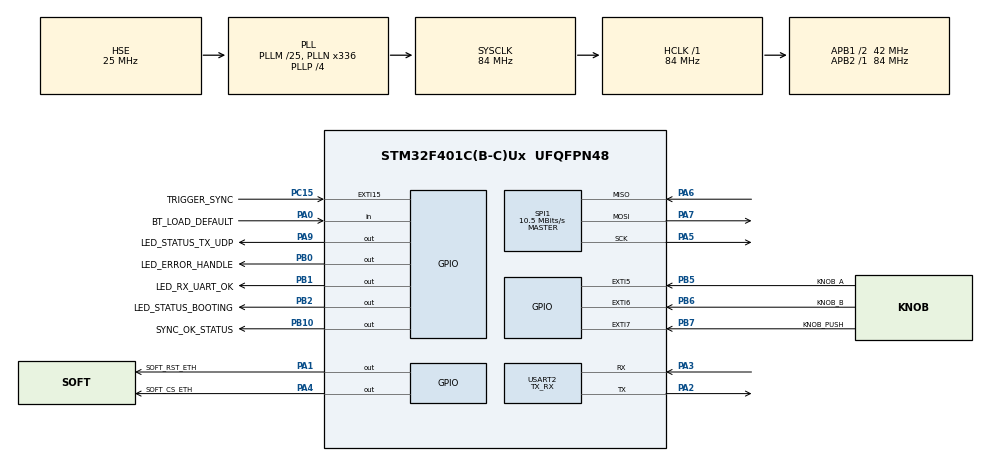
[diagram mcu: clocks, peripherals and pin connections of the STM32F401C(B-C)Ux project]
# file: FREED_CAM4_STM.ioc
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Dma.Request0=USART2_RX
Dma.USART2_RX.0.Direction=DMA_PERIPH_TO_MEMORY
Dma.USART2_RX.0.FIFOMode=DMA_FIFOMODE_DISABLE
Dma.USART2_RX.0.Instance=DMA1_Stream5
Dma.USART2_RX.0.MemDataAlignment=DMA_MDATAALIGN_BYTE
Dma.USART2_RX.0.MemInc=DMA_MINC_ENABLE
Dma.USART2_RX.0.Mode=DMA_NORMAL
Dma.USART2_RX.0.PeriphDataAlignment=DMA_PDATAALIGN_BYTE
Dma.USART2_RX.0.PeriphInc=DMA_PINC_DISABLE
Dma.USART2_RX.0.Priority=DMA_PRIORITY_LOW
IWDG.Prescaler=IWDG_PRESCALER_64
IWDG.Reload=2499
Mcu.Family=STM32F4
Mcu.Name=STM32F401C(B-C)Ux
Mcu.Package=UFQFPN48
NVIC.DMA1_Stream5_IRQn=true\:0\:0\:false\:false\:true\:false\:true\:true
NVIC.EXTI15_10_IRQn=true\:0\:0\:false\:false\:true\:true\:true\:true
NVIC.PriorityGroup=NVIC_PRIORITYGROUP_4
NVIC.USART2_IRQn=true\:0\:0\:false\:false\:true\:true\:true\:true
PA0-WKUP.GPIO_Label=BT_LOAD_DEFAULT
PA0-WKUP.GPIO_PuPd=GPIO_PULLUP
PA0-WKUP.Signal=GPIO_Input
PA1.GPIO_Label=SOFT_RST_ETH
PA1.Signal=GPIO_Output
PA2.Mode=Asynchronous
PA2.Signal=USART2_TX
PA3.Mode=Asynchronous
PA3.Signal=USART2_RX
PA4.GPIO_Label=SOFT_CS_ETH
PA4.Signal=GPIO_Output
PA5.Mode=Full_Duplex_Master
PA5.Signal=SPI1_SCK
PA6.Mode=Full_Duplex_Master
PA6.Signal=SPI1_MISO
PA7.Mode=Full_Duplex_Master
PA7.Signal=SPI1_MOSI
PA9.GPIO_Label=LED_STATUS_TX_UDP
PA9.Signal=GPIO_Output
PB0.GPIO_Label=LED_ERROR_HANDLE
PB0.Signal=GPIO_Output
PB1.GPIO_Label=LED_RX_UART_OK
PB1.Signal=GPIO_Output
PB10.GPIO_Label=SYNC_OK_STATUS
PB10.Signal=GPIO_Output
PB2.GPIO_Label=LED_STATUS_BOOTING
PB2.Signal=GPIO_Output
PB5.GPIO_Label=KNOB_A
PB5.GPIO_PuPd=GPIO_PULLDOWN
PB5.Signal=GPXTI5
PB6.GPIO_Label=KNOB_B
PB6.GPIO_PuPd=GPIO_PULLUP
PB6.Signal=GPXTI6
PB7.GPIO_Label=KNOB_PUSH
PB7.GPIO_PuPd=GPIO_PULLUP
PB7.Signal=GPXTI7
PC15-OSC32_OUT.GPIO_Label=TRIGGER_SYNC
PC15-OSC32_OUT.GPIO_ModeDefaultEXTI=GPIO_MODE_IT_FALLING
PC15-OSC32_OUT.GPIO_PuPd=GPIO_PULLUP
PC15-OSC32_OUT.Signal=GPXTI15
PH0\ -\ OSC_IN.Mode=HSE-External-Oscillator
PH0\ -\ OSC_IN.Signal=RCC_OSC_IN
PH1\ -\ OSC_OUT.Mode=HSE-External-Oscillator
PH1\ -\ OSC_OUT.Signal=RCC_OSC_OUT
ProjectManager.HeapSize=0x200
ProjectManager.StackSize=0x400
ProjectManager.TargetToolchain=STM32CubeIDE
RCC.48MHZClocksFreq_Value=48000000
RCC.AHBFreq_Value=84000000
RCC.APB1CLKDivider=RCC_HCLK_DIV2
RCC.APB1Freq_Value=42000000
RCC.APB1TimFreq_Value=84000000
RCC.APB2Freq_Value=84000000
RCC.APB2TimFreq_Value=84000000
RCC.CortexFreq_Value=84000000
RCC.EnbaleCSS=true
RCC.HCLKFreq_Value=84000000
RCC.HSE_VALUE=25000000
RCC.HSI_VALUE=16000000
RCC.LSE_VALUE=32768
RCC.PLLM=25
RCC.PLLN=336
RCC.PLLP=RCC_PLLP_DIV4
RCC.PLLQ=7
RCC.PLLSourceVirtual=RCC_PLLSOURCE_HSE
RCC.SYSCLKFreq_VALUE=84000000
RCC.SYSCLKSource=RCC_SYSCLKSOURCE_PLLCLK
RCC.VCOOutputFreq_Value=336000000
SPI1.BaudRatePrescaler=SPI_BAUDRATEPRESCALER_8
SPI1.CalculateBaudRate=10.5 MBits/s
SPI1.Direction=SPI_DIRECTION_2LINES
SPI1.Mode=SPI_MODE_MASTER
SPI1.VirtualType=VM_MASTER
USART2.Mode=MODE_TX_RX
USART2.VirtualMode=VM_ASYNC
VP_IWDG_VS_IWDG.Mode=IWDG_Activate
board=custom

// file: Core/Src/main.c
/* USER CODE BEGIN Header */
/**
  ******************************************************************************
  * @file           : main.c
  * @brief          : Main program body
  ******************************************************************************
  * @attention
  *
  * Copyright (c) 2022 STMicroelectronics.
  * All rights reserved.
  *
  * This software is licensed under terms that can be found in the LICENSE file
  * in the root directory of this software component.
  * If no LICENSE file comes with this software, it is provided AS-IS.
  *
  ******************************************************************************
  */

  /**

	Sistema de tracking para câmera 4 PRJ
	Elaborado por: Daniel Leite / Fabiano Aguileira
	Software para  captura dos dados da câmera e conversão / envio via FreeD
	Mapa de calibração de distorção de trilhos gravado no progroma.
	Em caso de mudança fisíca no sistema, será necessário criar um novo mapa.

  */

/* USER CODE END Header */
#include "main.h"

/* USER CODE BEGIN Includes */
#include <stdio.h>

#include "decoderTrack.h"
#include "w5500_spi.h"
#include "FreeD.h"

#include "config.h"
#include "mapas.h"

/* USER CODE END Includes */

/* USER CODE BEGIN PD */

// Define da porta o intern trace monitor para fazer degug via trace
#define ITM_Port32(n) (*((volatile unsigned long *) (ITM_BASE + 4*n)))

#define UDP_SOCKET1 (uint8_t) 0
#define UDP_SOCKET2 (uint8_t) 1
#define UDP_SOCKET3 (uint8_t) 2
#define UDP_SOCKET4 (uint8_t) 3
#define UDP_SOCKET5 (uint8_t) 4
#define UDP_SOCKET6 (uint8_t) 5
#define UDP_SOCKET7 (uint8_t) 6
#define TCP_SERVER_SOCKET (uint8_t) 7

#define PORTA_RX_TCP_SERVER	1110

#define TIME_OUT_STATUS_SYNC_MS (2*1000/60)
#define TIME_OUT_STATUS_RX_MS 	(2*1000/60)
#define TEMPO_REFRESH_MENU_MS	(1*1000/60)

#define SizeVectorBuffer	3
#define CAM_ID				1
#define FREED_BUFFER_INVALID	0xFFU

#define SEND_IN_INTERRUPCION

//#define DEBUG_ITM
//#define DEFUB_PRINTF
//#define DEBUG_USB
//#define WTD_RESET   // Realiza o reset do wtd dentro da rotina de leitura do serial

//#define CASA

/* USER CODE END PD */

IWDG_HandleTypeDef hiwdg;

SPI_HandleTypeDef hspi1;

UART_HandleTypeDef huart2;
DMA_HandleTypeDef hdma_usart2_rx;

/* USER CODE BEGIN PV */

configTrack configGlobal;

volatile uint16_t bootPage0Hdr = 0xFFFF;
volatile uint16_t bootPage1Hdr = 0xFFFF;
volatile uint16_t afterEeInitPage0Hdr = 0xFFFF;
volatile uint16_t afterEeInitPage1Hdr = 0xFFFF;
volatile uint16_t bootBtLoadDefault = 0xFFFF;

///************** VARI�?VEIS EEPROM ***************************************/

/* Virtual address defined by the user: 0xFFFF value is prohibited */
uint16_t VirtAddVarTab[NB_OF_VAR];

///**************  BUFFET DE STATUS E SAIDA TCP *********************************/

uint8_t bufferStatusGeral[64];
uint8_t buffetMsgOut[2048];

//************* MAPA DE COMPENSACAO XY  ****************************************/

volatile dadosMapaTrack  mapaST_XY = {   .distComp = 0,
										 .lastPoseVet = 0,
										 .lastPoseVet = -1,
										 .proxPosVet = -1,
										 .vetSize = sizeof(VetMapXY)/(sizeof(float)*3)};

volatile dadosMapaTrack  mapaST_Z = {  	 .distComp = 0,
										 .lastPoseVet = 0,
										 .lastPoseVet = -1,
										 .proxPosVet = -1,
										 .vetSize = sizeof(VetMapZ)/(sizeof(float)*2)};

volatile dadosMapaTrack  mapaST_PAN = {  .distComp = 0,
										 .lastPoseVet = 0,
										 .lastPoseVet = -1,
										 .proxPosVet = -1,
										 .vetSize = sizeof(VetMapaPAN)/(sizeof(float)*2)};

volatile dadosMapaTrack  mapaST_T_ROLL = {	.distComp = 0,
											.lastPoseVet = 0,
											.lastPoseVet = -1,
											.proxPosVet = -1,
											.vetSize = sizeof(VetMapaROLL)/(sizeof(float)*2)};

/////****************************************************************************/

PinCtlW5500 setup_gpio = {	.GPIO_CS = SOFT_CS_ETH_GPIO_Port,
 						 	.PIN_CS = SOFT_CS_ETH_Pin,
 						    .GPIO_RST = SOFT_RST_ETH_GPIO_Port,
 						    .PIN_RST = SOFT_RST_ETH_Pin};

uint8_t ipRemoto1[4], ipRemoto2[4], ipRemoto3[4], ipRemoto4[4], ipRemoto5[4], ipRemoto6[4], ipRemoto7[4];

 uint8_t volatile bufferUdpTX[FREE_D_D1_PACKET_SIZE];

 FreeD_D1_t pacoteFreed = {  .ID = 255,
							 .Pan = 0.0,
							 .Tilt = 0.0,
							 .Roll = 0.0,
							 .X = 0.0,
							 .Y = 0.0,
							 .Z = 0.0,
							 .Zoom = 0,
							 .Focus = 0};

 volatile uint8_t SYNC_ON = 0, idBufferEscrita = 0, RX_STATUS = 0;
 volatile uint32_t dt_sync = 0, dt_rx = 0;
 volatile bufferData bufferRX_SerialCam4[SizeVectorBuffer];
 volatile bufferData bufferRXTemp[SizeVectorBuffer];
 volatile uint8_t cam_id_ct = 0;

 volatile uint32_t contadorFalhaEnvioUDP = 0; // conta quantos envios nao retornaram o tamanho esperado (29)
 volatile uint32_t contadorFalhaEnquadramentoUART = 0; // conta pacotes seriais com tamanho ok mas marcador invalido
 volatile uint32_t contadorSyncTotal = 0;
 volatile uint32_t contadorSyncLost = 0;
 volatile uint32_t ultimoSyncTick = 0;
 volatile uint32_t contadorFreeDTotal = 0;
 volatile uint32_t contadorFreeDOk = 0;
 volatile uint32_t contadorFreeDErro = 0;
 volatile uint32_t contadorFreeDDropped = 0;
 volatile uint32_t ultimoFreeDTick = 0;
 volatile int32_t ultimoFreeDRetorno = 0;
 volatile uint8_t ultimoFreeDSocket = 0;
 volatile uint32_t contadorEthDown = 0;
 volatile uint32_t contadorEthUp = 0;
 volatile uint32_t estadoLinkEthernet = 0;

 /* Instrumentacao observacional do servidor TCP 1110 (socket 7). */
 volatile uint32_t tcpAcceptCount = 0;
 volatile uint32_t tcpRxOkCount = 0;
 volatile uint32_t tcpRxErrCount = 0;
 volatile uint32_t tcpSendCallCount = 0;
 volatile uint32_t tcpSendRetOkCount = 0;
 volatile uint32_t tcpSendRetErrCount = 0;
 volatile uint32_t tcpSendOkCount = 0;
 volatile uint32_t tcpTimeoutCount = 0;
 volatile uint32_t tcpCloseWaitCount = 0;
 volatile uint32_t tcpDisconCount = 0;
 volatile uint32_t tcpReopenCount = 0;
 volatile uint8_t tcpLastSr = SOCK_CLOSED;
 volatile uint8_t tcpLastIr = 0;
 volatile int32_t tcpLastRecv = -1;
 volatile int32_t tcpLastSend = -1;
 volatile uint16_t tcpLastTxFsr = 0;
 volatile uint8_t tcpPreviousSocketState = 0xFFU;
 volatile uint8_t tcpPreviousIr = 0;
 volatile uint8_t tcpSocketEverOpened = 0;
 volatile uint32_t tcpListenCount = 0;
 volatile uint32_t tcpClosedToListenMs = 0;
 volatile uint32_t tcpMaxClosedToListenMs = 0;
 volatile uint32_t tcpClosedObservedTick = 0;
 volatile uint8_t tcpClosedTimingActive = 0;

 volatile int32_t stsSocket0, stsSocket1, stsSocket2, stsSocket3, stsSocket4, stsSocket5, stsSocket6, stsSocket7;

 volatile uint16_t timmerVal;

 volatile uint32_t pmask; // Marcador de interrucoes ativas

 volatile gap_zoom gapLente = { .lastRawValue = 0,
 	 	 	 	 	 	 	 	.backSlashAtual = 0,
 	 	 	 	 	 	 	 	.zoomCorrigido = 0};

 uint32_t dt = 0;

 /**************************************************************************/

 /* Virtual address defined by the user: 0xFFFF value is prohibited */

 /**************************************************************************/

/* USER CODE END PV */

void SystemClock_Config(void);
static void MX_GPIO_Init(void);
static void MX_DMA_Init(void);
static void MX_SPI1_Init(void);
static void MX_USART2_UART_Init(void);
static void MX_IWDG_Init(void);
/* USER CODE BEGIN PFP */

void statusBooting(void);

/* USER CODE END PFP */

int main(void)
{

  /* MCU Configuration--------------------------------------------------------*/

  /* Reset of all peripherals, Initializes the Flash interface and the Systick. */
  HAL_Init();

  /* Configure the system clock */
  SystemClock_Config();

  /* Initialize all configured peripherals */
  MX_GPIO_Init();
  MX_DMA_Init();
  MX_SPI1_Init();
  MX_USART2_UART_Init();
  MX_IWDG_Init();
  /* USER CODE BEGIN 2 */

  statusBooting();

  enter_critical();

  configInit(VirtAddVarTab, NB_OF_VAR);				// Inicializa a eeprom para operar com a configuração salva

  loadConfig();										// Carrega a configuração da eeprom na variavel de configuracao global

  exit_critical();

  // Carrega configuracao padrao, caso a chave seja apertada durante a inicializacao
  bootBtLoadDefault = (uint16_t)HAL_GPIO_ReadPin(BT_LOAD_DEFAULT_GPIO_Port, BT_LOAD_DEFAULT_Pin);
  if(bootBtLoadDefault == 0){
	  loadDefault();
  }

  wiz_NetInfo configRede = { .mac = {configGlobal.config.mac1, configGlobal.config.mac2, configGlobal.config.mac3, configGlobal.config.mac4, configGlobal.config.mac5, configGlobal.config.mac6},
								 .ip  = {configGlobal.config.ip1 , configGlobal.config.ip2, configGlobal.config.ip3, configGlobal.config.ip4},
								 .sn =  {configGlobal.config.mask1, configGlobal.config.mask2, configGlobal.config.mask3, configGlobal.config.mask4},
								 .gw =  {configGlobal.config.gw1, configGlobal.config.gw2, configGlobal.config.gw3, configGlobal.config.gw4},
								 .dns = {configGlobal.config.dns1, configGlobal.config.dns2, configGlobal.config.dns3, configGlobal.config.dns4},
								 .dhcp = configGlobal.config.dhcp_static};

  ipRemoto1[0] = configGlobal.config.ip1_rmt1; ipRemoto1[1] =  configGlobal.config.ip2_rmt1; ipRemoto1[2] =  configGlobal.config.ip3_rmt1; ipRemoto1[3] =  configGlobal.config.ip4_rmt1;
  ipRemoto2[0] = configGlobal.config.ip1_rmt2; ipRemoto2[1] =  configGlobal.config.ip2_rmt2; ipRemoto2[2] =  configGlobal.config.ip3_rmt2; ipRemoto2[3] =  configGlobal.config.ip4_rmt2;
  ipRemoto3[0] = configGlobal.config.ip1_rmt3; ipRemoto3[1] =  configGlobal.config.ip2_rmt3; ipRemoto3[2] =  configGlobal.config.ip3_rmt3; ipRemoto3[3] =  configGlobal.config.ip4_rmt3;
  ipRemoto4[0] = configGlobal.config.ip1_rmt4; ipRemoto4[1] =  configGlobal.config.ip2_rmt4; ipRemoto4[2] =  configGlobal.config.ip3_rmt4; ipRemoto4[3] =  configGlobal.config.ip4_rmt4;
  ipRemoto5[0] = configGlobal.config.ip1_rmt5; ipRemoto5[1] =  configGlobal.config.ip2_rmt5; ipRemoto5[2] =  configGlobal.config.ip3_rmt5; ipRemoto5[3] =  configGlobal.config.ip4_rmt5;
  ipRemoto6[0] = configGlobal.config.ip1_rmt6; ipRemoto6[1] =  configGlobal.config.ip2_rmt6; ipRemoto6[2] =  configGlobal.config.ip3_rmt6; ipRemoto6[3] =  configGlobal.config.ip4_rmt6;
  ipRemoto7[0] = configGlobal.config.ip1_rmt7; ipRemoto7[1] =  configGlobal.config.ip2_rmt7; ipRemoto7[2] =  configGlobal.config.ip3_rmt7; ipRemoto7[3] =  configGlobal.config.ip4_rmt7;

  HAL_Delay(1000);
  /*enter_critical();
  gravaConfig();
  exit_critical();
  */

  // Configura os parametros de rede do w5500
  W5500_STM32_begin(configRede);
  estadoLinkEthernet = (wizphy_getphylink() == PHY_LINK_ON) ? 1U : 0U;

  // reduz o timout de rede para evitar perda de pocote ou travametno no caso de ausencia de cliente
  // FIX: esse timeout so protegia parcialmente - o envio ainda rodava dentro da
  // ISR de sync (ver HAL_GPIO_EXTI_Callback), entao mesmo 500us x N sockets
  // inacessiveis prendia a interrupcao por tempo suficiente para atrasar a
  // UART/DMA. Agora que o envio foi movido para o loop principal, o valor
  // pequeno aqui continua bom (evita travar o loop por muito tempo se um
  // cliente cair), mas nao e mais a unica linha de defesa.
  wiz_NetTimeout timeout_rede;
  timeout_rede.retry_cnt = 1;	 // default 8
  timeout_rede.time_100us = 5;	 // default 200

  wizchip_settimeout(&timeout_rede);

  switch (configGlobal.config.n_remotos) {
	case 1:
		 if(W5500_STM32_UDP_begin(8881, UDP_SOCKET1, MODO_UDP_UNI_BROAD) != UDP_SOCKET1){
			  printf("Falha na inicialização do socket UDP");
			  Error_Handler();
		  }
		break;
	case 2:
		  if(W5500_STM32_UDP_begin(8881, UDP_SOCKET1, MODO_UDP_UNI_BROAD) != UDP_SOCKET1){
			  printf("Falha na inicialização do socket UDP");
			  Error_Handler();
		  }
		  if(W5500_STM32_UDP_begin(8882, UDP_SOCKET2, MODO_UDP_UNI_BROAD) != UDP_SOCKET2){
			  printf("Falha na inicialização do socket UDP");
			  Error_Handler();
		  }
		break;
	case 3:
		  if(W5500_STM32_UDP_begin(8881, UDP_SOCKET1, MODO_UDP_UNI_BROAD) != UDP_SOCKET1){
			  printf("Falha na inicialização do socket UDP");
			  Error_Handler();
		  }
		  if(W5500_STM32_UDP_begin(8882, UDP_SOCKET2, MODO_UDP_UNI_BROAD) != UDP_SOCKET2){
		 	  printf("Falha na inicialização do socket UDP");
		 	  Error_Handler();
		  }
		  if(W5500_STM32_UDP_begin(8883, UDP_SOCKET3, MODO_UDP_UNI_BROAD) != UDP_SOCKET3){
		 	  printf("Falha na inicialização do socket UDP");
		 	  Error_Handler();
		  }
		break;
	case 4:
		  if(W5500_STM32_UDP_begin(8881, UDP_SOCKET1, MODO_UDP_UNI_BROAD) != UDP_SOCKET1){
			  printf("Falha na inicialização do socket UDP");
			  Error_Handler();
		  }
		  if(W5500_STM32_UDP_begin(8882, UDP_SOCKET2, MODO_UDP_UNI_BROAD) != UDP_SOCKET2){
		 	  printf("Falha na inicialização do socket UDP");
		 	  Error_Handler();
		  }
		  if(W5500_STM32_UDP_begin(8883, UDP_SOCKET3, MODO_UDP_UNI_BROAD) != UDP_SOCKET3){
		 	  printf("Falha na inicialização do socket UDP");
		 	  Error_Handler();
		  }
		  if(W5500_STM32_UDP_begin(8883, UDP_SOCKET4, MODO_UDP_UNI_BROAD) != UDP_SOCKET4){
		   	  printf("Falha na inicialização do socket UDP");
		   	  Error_Handler();
		  }
		break;
	case 5:
		  if(W5500_STM32_UDP_begin(8881, UDP_SOCKET1, MODO_UDP_UNI_BROAD) != UDP_SOCKET1){
			  printf("Falha na inicialização do socket UDP");
			  Error_Handler();
		  }
		  if(W5500_STM32_UDP_begin(8882, UDP_SOCKET2, MODO_UDP_UNI_BROAD) != UDP_SOCKET2){
		 	  printf("Falha na inicialização do socket UDP");
		 	  Error_Handler();
		  }
		  if(W5500_STM32_UDP_begin(8883, UDP_SOCKET3, MODO_UDP_UNI_BROAD) != UDP_SOCKET3){
		 	  printf("Falha na inicialização do socket UDP");
		 	  Error_Handler();
		  }
		  if(W5500_STM32_UDP_begin(8883, UDP_SOCKET4, MODO_UDP_UNI_BROAD) != UDP_SOCKET4){
		   	  printf("Falha na inicialização do socket UDP");
		   	  Error_Handler();
		  }
		  if(W5500_STM32_UDP_begin(8883, UDP_SOCKET5, MODO_UDP_UNI_BROAD) != UDP_SOCKET5){
		   	  printf("Falha na inicialização do socket UDP");
		   	  Error_Handler();
		  }

		break;
	case 6:
		  if(W5500_STM32_UDP_begin(8881, UDP_SOCKET1, MODO_UDP_UNI_BROAD) != UDP_SOCKET1){
			  printf("Falha na inicialização do socket UDP");
			  Error_Handler();
		  }
		  if(W5500_STM32_UDP_begin(8882, UDP_SOCKET2, MODO_UDP_UNI_BROAD) != UDP_SOCKET2){
		 	  printf("Falha na inicialização do socket UDP");
		 	  Error_Handler();
		  }
		  if(W5500_STM32_UDP_begin(8883, UDP_SOCKET3, MODO_UDP_UNI_BROAD) != UDP_SOCKET3){
		 	  printf("Falha na inicialização do socket UDP");
		 	  Error_Handler();
		  }
		  if(W5500_STM32_UDP_begin(8883, UDP_SOCKET4, MODO_UDP_UNI_BROAD) != UDP_SOCKET4){
		   	  printf("Falha na inicialização do socket UDP");
		   	  Error_Handler();
		  }
		  if(W5500_STM32_UDP_begin(8883, UDP_SOCKET5, MODO_UDP_UNI_BROAD) != UDP_SOCKET5){
		   	  printf("Falha na inicialização do socket UDP");
		   	  Error_Handler();
		  }
		  if(W5500_STM32_UDP_begin(8883, UDP_SOCKET6, MODO_UDP_UNI_BROAD) != UDP_SOCKET6){
			  printf("Falha na inicialização do socket UDP");
			  Error_Handler();
		  }

		break;
	case 7:
		  if(W5500_STM32_UDP_begin(8881, UDP_SOCKET1, MODO_UDP_UNI_BROAD) != UDP_SOCKET1){
			  printf("Falha na inicialização do socket UDP");
			  Error_Handler();
		  }
		  if(W5500_STM32_UDP_begin(8882, UDP_SOCKET2, MODO_UDP_UNI_BROAD) != UDP_SOCKET2){
		 	  printf("Falha na inicialização do socket UDP");
		 	  Error_Handler();
		  }
		  if(W5500_STM32_UDP_begin(8883, UDP_SOCKET3, MODO_UDP_UNI_BROAD) != UDP_SOCKET3){
		 	  printf("Falha na inicialização do socket UDP");
		 	  Error_Handler();
		  }
		  if(W5500_STM32_UDP_begin(8883, UDP_SOCKET4, MODO_UDP_UNI_BROAD) != UDP_SOCKET4){
		   	  printf("Falha na inicialização do socket UDP");
		   	  Error_Handler();
		  }
		  if(W5500_STM32_UDP_begin(8883, UDP_SOCKET5, MODO_UDP_UNI_BROAD) != UDP_SOCKET5){
		   	  printf("Falha na inicialização do socket UDP");
		   	  Error_Handler();
		  }
		  if(W5500_STM32_UDP_begin(8883, UDP_SOCKET6, MODO_UDP_UNI_BROAD) != UDP_SOCKET6){
			  printf("Falha na inicialização do socket UDP");
			  Error_Handler();
		  }
		  if(W5500_STM32_UDP_begin(8883, UDP_SOCKET7, MODO_UDP_UNI_BROAD) != UDP_SOCKET7){
			  printf("Falha na inicialização do socket UDP");
			  Error_Handler();
		  }
		break;
	default:
		printf("Falha na inicializaçao dos socket. Não foi configurado dispositivo remoto \n");
		break;
}

  /*if(listen(TCP_SERVER_SOCKET) != SOCK_OK){
	  printf("Inicio: Falha na inicializacao da escuta do servidor TCP \n");
  }*/

  HAL_Delay(1000);

  enter_critical();

  if(HAL_UARTEx_ReceiveToIdle_DMA(&huart2, (uint8_t *) bufferRX_SerialCam4[idBufferEscrita].bufferRaw, 27) == HAL_ERROR) {
	  printf("Falha na inicialização da porta UART \n");
	  Error_Handler();
  };
  __HAL_DMA_DISABLE_IT(&hdma_usart2_rx,DMA_IT_HT);

  exit_critical();

  printf("Fim do setup! Inicio do loop. \n");

  /* USER CODE END 2 */

  /* Infinite loop */
  /* USER CODE BEGIN WHILE */
  bufferStatusGeral[sizeof(bufferStatusGeral) - 1] = 0x0;  // Zera o ultimo byte para poder imprimpir como uma string \0
  //__HAL_TIM_ENABLE(&htim10);

  HAL_GPIO_WritePin(LED_STATUS_BOOTING_GPIO_Port, LED_STATUS_BOOTING_Pin, GPIO_PIN_RESET);

  while (1)
  {
	 HAL_IWDG_Refresh(&hiwdg);  // reset wtd

	 // Reseta status do sync devido ao timout do sync
	 if(SYNC_ON && HAL_GetTick() - dt_sync >  TIME_OUT_STATUS_SYNC_MS){
		SYNC_ON = 0;
		contadorSyncLost++;
		HAL_GPIO_WritePin(SYNC_OK_STATUS_GPIO_Port, SYNC_OK_STATUS_Pin, SYNC_ON);
	 }
	 // Reseta status do sync devido ao timout do rx da uart
	 if(HAL_GetTick() - dt_rx > TIME_OUT_STATUS_RX_MS){
		 RX_STATUS = 0;
		 HAL_GPIO_WritePin(LED_RX_UART_OK_GPIO_Port, LED_RX_UART_OK_Pin, GPIO_PIN_RESET);
	 }

	 if(HAL_GetTick() - dt   > TEMPO_REFRESH_MENU_MS){

		 dt = HAL_GetTick();
		 uint32_t linkAtual = (wizphy_getphylink() == PHY_LINK_ON) ? 1U : 0U;
		 if(linkAtual != estadoLinkEthernet){
			 estadoLinkEthernet = linkAtual;
			 if(linkAtual){
				 contadorEthUp++;
			 }else{
				 contadorEthDown++;
			 }
		 }
		 bufferStatusGeral[0] = (RX_STATUS | SYNC_ON << 2);
		 bufferStatusGeral[1] = (uint8_t) HAL_UART_GetError(&huart2);
		 bufferStatusGeral[2] = (uint8_t)HAL_SPI_GetError(&hspi1);
		 // FIX (opcional/aditivo): bytes 3-10, antes nao usados, expõem os novos
		 // contadores de diagnostico para quem ja le esse buffer via TCP (ex.:
		 // Cam4Monitor). Nao mexe nos bytes 0-2 existentes, entao nao deveria
		 // quebrar nenhum parser atual que ja ignore o restante do buffer.
		 uint32_t tmpFalhaEnvio = contadorFalhaEnvioUDP;			// copia local para evitar aviso de 'volatile' no memcpy
		 uint32_t tmpFalhaEnquadramento = contadorFalhaEnquadramentoUART;
		 memcpy(&bufferStatusGeral[3], &tmpFalhaEnvio, sizeof(tmpFalhaEnvio));
		 memcpy(&bufferStatusGeral[7], &tmpFalhaEnquadramento, sizeof(tmpFalhaEnquadramento));

		 SERVER_MENU(bufferStatusGeral, sizeof(bufferStatusGeral), buffetMsgOut, sizeof(buffetMsgOut), TCP_SERVER_SOCKET, PORTA_RX_TCP_SERVER, MODO_TCP_UNI_BROAD);

		 if(HAL_UART_GetError(&huart2) > 0){ // Reinica o processo da UART COM A DMA em caso de erro
			HAL_UART_DMAStop(&huart2);
			HAL_UARTEx_ReceiveToIdle_DMA(&huart2, (uint8_t *) bufferRX_SerialCam4[idBufferEscrita].bufferRaw, SIZEPACKET);
			__HAL_DMA_DISABLE_IT(&hdma_usart2_rx,DMA_IT_HT);
		 }
	 }

    /* USER CODE END WHILE */

  }
}

void SystemClock_Config(void)
{
  RCC_OscInitTypeDef RCC_OscInitStruct = {0};
  RCC_ClkInitTypeDef RCC_ClkInitStruct = {0};

  /** Configure the main internal regulator output voltage
  */
  __HAL_RCC_PWR_CLK_ENABLE();
  __HAL_PWR_VOLTAGESCALING_CONFIG(PWR_REGULATOR_VOLTAGE_SCALE2);

  /** Initializes the RCC Oscillators according to the specified parameters
  * in the RCC_OscInitTypeDef structure.
  */
  RCC_OscInitStruct.OscillatorType = RCC_OSCILLATORTYPE_LSI|RCC_OSCILLATORTYPE_HSE;
  RCC_OscInitStruct.HSEState = RCC_HSE_ON;
  RCC_OscInitStruct.LSIState = RCC_LSI_ON;
  RCC_OscInitStruct.PLL.PLLState = RCC_PLL_ON;
  RCC_OscInitStruct.PLL.PLLSource = RCC_PLLSOURCE_HSE;
  RCC_OscInitStruct.PLL.PLLM = 25;
  RCC_OscInitStruct.PLL.PLLN = 336;
  RCC_OscInitStruct.PLL.PLLP = RCC_PLLP_DIV4;
  RCC_OscInitStruct.PLL.PLLQ = 7;
  if (HAL_RCC_OscConfig(&RCC_OscInitStruct) != HAL_OK)
  {
    Error_Handler();
  }

  /** Initializes the CPU, AHB and APB buses clocks
  */
  RCC_ClkInitStruct.ClockType = RCC_CLOCKTYPE_HCLK|RCC_CLOCKTYPE_SYSCLK
                              |RCC_CLOCKTYPE_PCLK1|RCC_CLOCKTYPE_PCLK2;
  RCC_ClkInitStruct.SYSCLKSource = RCC_SYSCLKSOURCE_PLLCLK;
  RCC_ClkInitStruct.AHBCLKDivider = RCC_SYSCLK_DIV1;
  RCC_ClkInitStruct.APB1CLKDivider = RCC_HCLK_DIV2;
  RCC_ClkInitStruct.APB2CLKDivider = RCC_HCLK_DIV1;

  if (HAL_RCC_ClockConfig(&RCC_ClkInitStruct, FLASH_LATENCY_2) != HAL_OK)
  {
    Error_Handler();
  }

  /** Enables the Clock Security System
  */
  HAL_RCC_EnableCSS();
}

static void MX_IWDG_Init(void)
{

  hiwdg.Instance = IWDG;
  hiwdg.Init.Prescaler = IWDG_PRESCALER_64;
  hiwdg.Init.Reload = 2499;
  if (HAL_IWDG_Init(&hiwdg) != HAL_OK)
  {
    Error_Handler();
  }

}

static void MX_SPI1_Init(void)
{

  /* SPI1 parameter configuration*/
  hspi1.Instance = SPI1;
  hspi1.Init.Mode = SPI_MODE_MASTER;
  hspi1.Init.Direction = SPI_DIRECTION_2LINES;
  hspi1.Init.DataSize = SPI_DATASIZE_8BIT;
  hspi1.Init.CLKPolarity = SPI_POLARITY_LOW;
  hspi1.Init.CLKPhase = SPI_PHASE_1EDGE;
  hspi1.Init.NSS = SPI_NSS_SOFT;
  hspi1.Init.BaudRatePrescaler = SPI_BAUDRATEPRESCALER_8;
  hspi1.Init.FirstBit = SPI_FIRSTBIT_MSB;
  hspi1.Init.TIMode = SPI_TIMODE_DISABLE;
  hspi1.Init.CRCCalculation = SPI_CRCCALCULATION_DISABLE;
  hspi1.Init.CRCPolynomial = 10;
  if (HAL_SPI_Init(&hspi1) != HAL_OK)
  {
    Error_Handler();
  }

}

static void MX_USART2_UART_Init(void)
{

  huart2.Instance = USART2;
  huart2.Init.BaudRate = 115200;
  huart2.Init.WordLength = UART_WORDLENGTH_8B;
  huart2.Init.StopBits = UART_STOPBITS_1;
  huart2.Init.Parity = UART_PARITY_NONE;
  huart2.Init.Mode = UART_MODE_TX_RX;
  huart2.Init.HwFlowCtl = UART_HWCONTROL_NONE;
  huart2.Init.OverSampling = UART_OVERSAMPLING_16;
  if (HAL_UART_Init(&huart2) != HAL_OK)
  {
    Error_Handler();
  }

}

static void MX_DMA_Init(void)
{

  /* DMA controller clock enable */
  __HAL_RCC_DMA1_CLK_ENABLE();

  /* DMA interrupt init */
  /* DMA1_Stream5_IRQn interrupt configuration */
  HAL_NVIC_SetPriority(DMA1_Stream5_IRQn, 0, 0);
  HAL_NVIC_EnableIRQ(DMA1_Stream5_IRQn);

}

static void MX_GPIO_Init(void)
{
  GPIO_InitTypeDef GPIO_InitStruct = {0};

  /* GPIO Ports Clock Enable */
  __HAL_RCC_GPIOC_CLK_ENABLE();
  __HAL_RCC_GPIOH_CLK_ENABLE();
  __HAL_RCC_GPIOA_CLK_ENABLE();
  __HAL_RCC_GPIOB_CLK_ENABLE();

  /*Configure GPIO pin Output Level */
  HAL_GPIO_WritePin(GPIOA, SOFT_RST_ETH_Pin|SOFT_CS_ETH_Pin|LED_STATUS_TX_UDP_Pin, GPIO_PIN_RESET);

  /*Configure GPIO pin Output Level */
  HAL_GPIO_WritePin(GPIOB, LED_ERROR_HANDLE_Pin|LED_RX_UART_OK_Pin|LED_STATUS_BOOTING_Pin|SYNC_OK_STATUS_Pin, GPIO_PIN_RESET);

  /*Configure GPIO pin : TRIGGER_SYNC_Pin */
  GPIO_InitStruct.Pin = TRIGGER_SYNC_Pin;
  GPIO_InitStruct.Mode = GPIO_MODE_IT_FALLING;
  GPIO_InitStruct.Pull = GPIO_PULLUP;
  HAL_GPIO_Init(TRIGGER_SYNC_GPIO_Port, &GPIO_InitStruct);

  /*Configure GPIO pin : BT_LOAD_DEFAULT_Pin */
  GPIO_InitStruct.Pin = BT_LOAD_DEFAULT_Pin;
  GPIO_InitStruct.Mode = GPIO_MODE_INPUT;
  GPIO_InitStruct.Pull = GPIO_PULLUP;
  HAL_GPIO_Init(BT_LOAD_DEFAULT_GPIO_Port, &GPIO_InitStruct);

  /*Configure GPIO pins : SOFT_RST_ETH_Pin SOFT_CS_ETH_Pin LED_STATUS_TX_UDP_Pin */
  GPIO_InitStruct.Pin = SOFT_RST_ETH_Pin|SOFT_CS_ETH_Pin|LED_STATUS_TX_UDP_Pin;
  GPIO_InitStruct.Mode = GPIO_MODE_OUTPUT_PP;
  GPIO_InitStruct.Pull = GPIO_NOPULL;
  GPIO_InitStruct.Speed = GPIO_SPEED_FREQ_LOW;
  HAL_GPIO_Init(GPIOA, &GPIO_InitStruct);

  /*Configure GPIO pins : LED_ERROR_HANDLE_Pin LED_RX_UART_OK_Pin LED_STATUS_BOOTING_Pin SYNC_OK_STATUS_Pin */
  GPIO_InitStruct.Pin = LED_ERROR_HANDLE_Pin|LED_RX_UART_OK_Pin|LED_STATUS_BOOTING_Pin|SYNC_OK_STATUS_Pin;
  GPIO_InitStruct.Mode = GPIO_MODE_OUTPUT_PP;
  GPIO_InitStruct.Pull = GPIO_NOPULL;
  GPIO_InitStruct.Speed = GPIO_SPEED_FREQ_LOW;
  HAL_GPIO_Init(GPIOB, &GPIO_InitStruct);

  /*Configure GPIO pin : KNOB_A_Pin */
  GPIO_InitStruct.Pin = KNOB_A_Pin;
  GPIO_InitStruct.Mode = GPIO_MODE_IT_RISING;
  GPIO_InitStruct.Pull = GPIO_PULLDOWN;
  HAL_GPIO_Init(KNOB_A_GPIO_Port, &GPIO_InitStruct);

  /*Configure GPIO pins : KNOB_B_Pin KNOB_PUSH_Pin */
  GPIO_InitStruct.Pin = KNOB_B_Pin|KNOB_PUSH_Pin;
  GPIO_InitStruct.Mode = GPIO_MODE_IT_RISING;
  GPIO_InitStruct.Pull = GPIO_PULLUP;
  HAL_GPIO_Init(GPIOB, &GPIO_InitStruct);

  /* EXTI interrupt init*/
  // FIX: prioridade rebaixada (1) em relacao a DMA1_Stream5_IRQn (0, a
  // interrupcao de RX da UART da camera). Antes as duas tinham prioridade
  // igual (0,0), entao, uma vez iniciada a ISR do sync, a conclusao da DMA da
  // UART ficava esperando ela terminar - sem chance de preempcao. Com o envio
  // de rede ja fora da ISR de sync isso importa menos, mas manter a UART com
  // prioridade mais alta e defesa extra contra qualquer trabalho futuro que
  // volte a ser colocado aqui.
  HAL_NVIC_SetPriority(EXTI15_10_IRQn, 1, 0);
  HAL_NVIC_EnableIRQ(EXTI15_10_IRQn);

}

/* USER CODE BEGIN 4 */
void HAL_GPIO_EXTI_Callback(uint16_t GPIO_Pin){

	switch (GPIO_Pin) {
		case TRIGGER_SYNC_Pin:
			dt_sync = HAL_GetTick(); // marca o ponto do sync para inciar ausencia do mesmo.
			ultimoSyncTick = dt_sync;
			contadorSyncTotal++;

#ifdef DEBUG_ITM
			ITM_Port32(31) = NORMALIZA_ID_BUF_DW(idBufferEscrita-1, SizeVectorBuffer);
#endif
			//timmerVal = __HAL_TIM_GET_COUNTER(&htim10);
			//__HAL_RCC_TIM10_FORCE_RESET();

			SYNC_ON = 1;
			HAL_GPIO_WritePin(LED_STATUS_TX_UDP_GPIO_Port, LED_STATUS_TX_UDP_Pin, GPIO_PIN_SET);

			CamDataToFreeD((uint8_t *) bufferUdpTX, &bufferRX_SerialCam4[NORMALIZA_ID_BUF_DW(idBufferEscrita-1, SizeVectorBuffer)],
							CAM_ID, &gapLente,
							&mapaST_XY, &mapaST_Z, &mapaST_PAN, &mapaST_T_ROLL,
							VetMapXY, VetMapZ,VetMapaPAN, VetMapaROLL);

#define ENVIA_FREED(status, socket, ip, porta) do { \
	uint32_t retornoBrutoFreeD = W5500_STM32_UDP_Send((socket), (uint8_t *) bufferUdpTX, 29, (ip), (porta)); \
	(status) = retornoBrutoFreeD; \
	ultimoFreeDRetorno = (retornoBrutoFreeD <= INT32_MAX) ? (int32_t)retornoBrutoFreeD : -(int32_t)(UINT32_MAX - retornoBrutoFreeD) - 1; \
	ultimoFreeDSocket = (socket); \
	contadorFreeDTotal++; \
	if((status) == 29) contadorFreeDOk++; else contadorFreeDErro++; \
	ultimoFreeDTick = HAL_GetTick(); \
} while(0)

			switch (configGlobal.config.n_remotos) {
				case 1:
					ENVIA_FREED(stsSocket0, UDP_SOCKET1, ipRemoto1, configGlobal.config.porta_rmt1);
					break;
				case 2:
					ENVIA_FREED(stsSocket0, UDP_SOCKET1, ipRemoto1, configGlobal.config.porta_rmt1);
					ENVIA_FREED(stsSocket1, UDP_SOCKET2, ipRemoto2, configGlobal.config.porta_rmt2);
					break;
				case 3:
					ENVIA_FREED(stsSocket0, UDP_SOCKET1, ipRemoto1, configGlobal.config.porta_rmt1);
					ENVIA_FREED(stsSocket1, UDP_SOCKET2, ipRemoto2, configGlobal.config.porta_rmt2);
					ENVIA_FREED(stsSocket2, UDP_SOCKET3, ipRemoto3, configGlobal.config.porta_rmt3);
					break;
				case 4:
					ENVIA_FREED(stsSocket0, UDP_SOCKET1, ipRemoto1, configGlobal.config.porta_rmt1);
					ENVIA_FREED(stsSocket1, UDP_SOCKET2, ipRemoto2, configGlobal.config.porta_rmt2);
					ENVIA_FREED(stsSocket2, UDP_SOCKET3, ipRemoto3, configGlobal.config.porta_rmt3);
					ENVIA_FREED(stsSocket3, UDP_SOCKET4, ipRemoto4, configGlobal.config.porta_rmt4);
					break;
				case 5:
					ENVIA_FREED(stsSocket0, UDP_SOCKET1, ipRemoto1, configGlobal.config.porta_rmt1);
					ENVIA_FREED(stsSocket1, UDP_SOCKET2, ipRemoto2, configGlobal.config.porta_rmt2);
					ENVIA_FREED(stsSocket2, UDP_SOCKET3, ipRemoto3, configGlobal.config.porta_rmt3);
					ENVIA_FREED(stsSocket3, UDP_SOCKET4, ipRemoto4, configGlobal.config.porta_rmt4);
					ENVIA_FREED(stsSocket4, UDP_SOCKET5, ipRemoto5, configGlobal.config.porta_rmt5);
					break;
				case 6:
					ENVIA_FREED(stsSocket0, UDP_SOCKET1, ipRemoto1, configGlobal.config.porta_rmt1);
					ENVIA_FREED(stsSocket1, UDP_SOCKET2, ipRemoto2, configGlobal.config.porta_rmt2);
					ENVIA_FREED(stsSocket2, UDP_SOCKET3, ipRemoto3, configGlobal.config.porta_rmt3);
					ENVIA_FREED(stsSocket3, UDP_SOCKET4, ipRemoto4, configGlobal.config.porta_rmt4);
					ENVIA_FREED(stsSocket4, UDP_SOCKET5, ipRemoto5, configGlobal.config.porta_rmt5);
					ENVIA_FREED(stsSocket5, UDP_SOCKET6, ipRemoto6, configGlobal.config.porta_rmt6);
					break;
				case 7:
					ENVIA_FREED(stsSocket0, UDP_SOCKET1, ipRemoto1, configGlobal.config.porta_rmt1);
					ENVIA_FREED(stsSocket1, UDP_SOCKET2, ipRemoto2, configGlobal.config.porta_rmt2);
					ENVIA_FREED(stsSocket2, UDP_SOCKET3, ipRemoto3, configGlobal.config.porta_rmt3);
					ENVIA_FREED(stsSocket3, UDP_SOCKET4, ipRemoto4, configGlobal.config.porta_rmt4);
					ENVIA_FREED(stsSocket4, UDP_SOCKET5, ipRemoto5, configGlobal.config.porta_rmt5);
					ENVIA_FREED(stsSocket5, UDP_SOCKET6, ipRemoto6, configGlobal.config.porta_rmt6);
					ENVIA_FREED(stsSocket6, UDP_SOCKET7, ipRemoto7, configGlobal.config.porta_rmt7);
					break;
				default:
					break;
			}

#undef ENVIA_FREED

			if(stsSocket0 != 29 && configGlobal.config.n_remotos >= 1) contadorFalhaEnvioUDP++;
			contadorFreeDDropped = 0; // Direct-send architecture: no queue or double buffer.
			HAL_GPIO_WritePin(LED_STATUS_TX_UDP_GPIO_Port, LED_STATUS_TX_UDP_Pin, GPIO_PIN_RESET);

			HAL_GPIO_WritePin(SYNC_OK_STATUS_GPIO_Port, SYNC_OK_STATUS_Pin, GPIO_PIN_SET);			// SETA O STATUS DE COM SYNC TODA VEZ QUE ENTRA NA INTERRUPCAO
			break;
		case KNOB_A_Pin:
			break;
		case KNOB_B_Pin:
			break;
		case KNOB_PUSH_Pin:
			break;
		default:

			break;
	}
}
void HAL_UART_RxCpltCallback(UART_HandleTypeDef *huart)
{
  HAL_UART_Receive_DMA(huart, (uint8_t*)bufferRX_SerialCam4, SIZEPACKET);
}

void  HAL_UART_RxHalfCpltCallback(UART_HandleTypeDef *huart){

}

volatile uint32_t contadorErroUART = 0;
volatile uint32_t ultimoErroUART = 0;
volatile uint32_t contadorErroORE = 0;
volatile uint32_t contadorErroFE  = 0;
volatile uint32_t contadorErroNE  = 0;
volatile uint32_t contadorErroPE  = 0;
volatile uint32_t contadorRXTotal = 0;
volatile uint32_t contadorRXValido = 0;
volatile uint32_t contadorRXInvalido = 0;
volatile uint32_t ultimoRXTick = 0;
volatile uint32_t ultimoRXOkTick = 0;

void HAL_UART_ErrorCallback(UART_HandleTypeDef *huart)
{
    if (huart->Instance == USART2)
    {
        uint32_t erro = HAL_UART_GetError(huart);

        contadorErroUART++;
        ultimoErroUART = erro;

        if (erro & HAL_UART_ERROR_ORE)
            contadorErroORE++;

        if (erro & HAL_UART_ERROR_FE)
            contadorErroFE++;

        if (erro & HAL_UART_ERROR_NE)
            contadorErroNE++;

        if (erro & HAL_UART_ERROR_PE)
            contadorErroPE++;
    }
}

void HAL_UARTEx_RxEventCallback(UART_HandleTypeDef *huart, uint16_t Size){
	if(huart->Instance == USART2){
		dt_rx = HAL_GetTick();		// marca o ponto da leitura para inicar ausencia de rx

		contadorRXTotal++;
		ultimoRXTick = dt_rx;

		RX_STATUS = 1;
#ifdef DEBUG_ITM
		ITM_Port32(30) = NORMALIZA_ID_BUF_UP(idBufferEscrita + 1,SizeVectorBuffer);
#endif
		if(Size == SIZEPACKET){			// Recepcao completa, 27 bytes
			if(bufferRX_SerialCam4[idBufferEscrita].dadosSeprados.marcador1 == MarcadorInicioPac){
				contadorRXValido++;
				ultimoRXOkTick = dt_rx;

				RX_STATUS = 3;
				idBufferEscrita = NORMALIZA_ID_BUF_UP(idBufferEscrita + 1,SizeVectorBuffer);
				HAL_GPIO_WritePin(LED_RX_UART_OK_GPIO_Port, LED_RX_UART_OK_Pin, GPIO_PIN_SET);
#ifdef WTD_RESET
				HAL_IWDG_Refresh(&hiwdg);   // reset do wtd caso a leitura tenha ocorrido de maneira correta.
#endif
			}else{
				// Pacote recebido com o tamanho certo mas marcador invalido:
				// provavel ruido/desalinhamento na UART. Nao avancamos
				// idBufferEscrita (pacote e descartado) e contamos a ocorrencia
				// para dar visibilidade do problema (antes isso era invisivel).
				contadorRXInvalido++;
				contadorFalhaEnquadramentoUART++;
			}
		}else{
			contadorRXInvalido++;
		}
		HAL_UARTEx_ReceiveToIdle_DMA(&huart2, (uint8_t *) bufferRX_SerialCam4[idBufferEscrita].bufferRaw, SIZEPACKET);
		__HAL_DMA_DISABLE_IT(&hdma_usart2_rx,DMA_IT_HT);
	}
}

// Funcao write para printf via debug
int _write(int file, char *ptr, int len)
{
	int DataIdx;
#ifndef DEBUG_USB
	for (DataIdx = 0; DataIdx < len; DataIdx++)
	{
		ITM_SendChar(*ptr++);
	}
#else
	CDC_Transmit_FS(ptr, len);
#endif
	return len;
}

void statusBooting(void){
	HAL_GPIO_WritePin(LED_RX_UART_OK_GPIO_Port, LED_RX_UART_OK_Pin, GPIO_PIN_RESET);
	HAL_GPIO_WritePin(LED_ERROR_HANDLE_GPIO_Port, LED_ERROR_HANDLE_Pin, GPIO_PIN_RESET);
	HAL_GPIO_WritePin(LED_STATUS_BOOTING_GPIO_Port, LED_STATUS_BOOTING_Pin, GPIO_PIN_SET);
}

/* USER CODE END 4 */

void Error_Handler(void)
{
  /* USER CODE BEGIN Error_Handler_Debug */
  /* User can add his own implementation to report the HAL error return state */
  __disable_irq();
  HAL_GPIO_WritePin(LED_RX_UART_OK_GPIO_Port, LED_RX_UART_OK_Pin, GPIO_PIN_RESET);
  HAL_GPIO_WritePin(SYNC_OK_STATUS_GPIO_Port, SYNC_OK_STATUS_Pin, GPIO_PIN_RESET);
  while (1)  {
	  HAL_GPIO_TogglePin(LED_ERROR_HANDLE_GPIO_Port, LED_ERROR_HANDLE_Pin);
  }
  /* USER CODE END Error_Handler_Debug */
}
